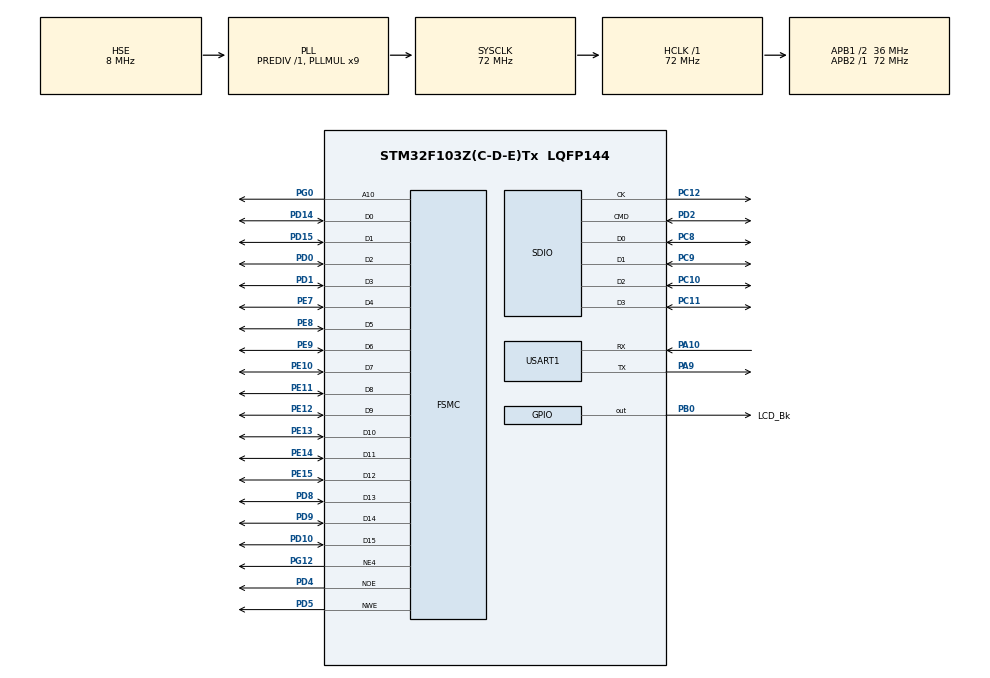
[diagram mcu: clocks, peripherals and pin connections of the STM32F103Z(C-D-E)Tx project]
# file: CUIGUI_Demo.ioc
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FSMC.AddressSetupTime1=1
FSMC.BusTurnAroundDuration1=0
FSMC.DataSetupTime1=15
FSMC.ExtendedAddressSetupTime1=0
FSMC.ExtendedBusTurnAroundDuration1=0
FSMC.ExtendedDataSetupTime1=3
FSMC.ExtendedMode1=FSMC_EXTENDED_MODE_ENABLE
Mcu.Family=STM32F1
Mcu.Name=STM32F103Z(C-D-E)Tx
Mcu.Package=LQFP144
NVIC.PriorityGroup=NVIC_PRIORITYGROUP_4
OSC_IN.Mode=HSE-External-Oscillator
OSC_IN.Signal=RCC_OSC_IN
OSC_OUT.Mode=HSE-External-Oscillator
OSC_OUT.Signal=RCC_OSC_OUT
PA10.Mode=Asynchronous
PA10.Signal=USART1_RX
PA13.Mode=Serial_Wire
PA13.Signal=SYS_JTMS-SWDIO
PA14.Mode=Serial_Wire
PA14.Signal=SYS_JTCK-SWCLK
PA9.Mode=Asynchronous
PA9.Signal=USART1_TX
PB0.GPIO_Label=LCD_Bk
PB0.GPIO_PuPd=GPIO_PULLUP
PB0.GPIO_Speed=GPIO_SPEED_FREQ_LOW
PB0.PinState=GPIO_PIN_RESET
PB0.Signal=GPIO_Output
PC10.Mode=SD_4_bits_Wide_bus
PC10.Signal=SDIO_D2
PC11.Mode=SD_4_bits_Wide_bus
PC11.Signal=SDIO_D3
PC12.Mode=SD_4_bits_Wide_bus
PC12.Signal=SDIO_CK
PC8.Mode=SD_4_bits_Wide_bus
PC8.Signal=SDIO_D0
PC9.Mode=SD_4_bits_Wide_bus
PC9.Signal=SDIO_D1
PD0.Signal=FSMC_D2_DA2
PD1.Signal=FSMC_D3_DA3
PD10.Signal=FSMC_D15_DA15
PD14.Signal=FSMC_D0_DA0
PD15.Signal=FSMC_D1_DA1
PD2.Mode=SD_4_bits_Wide_bus
PD2.Signal=SDIO_CMD
PD4.Signal=FSMC_NOE
PD5.Signal=FSMC_NWE
PD8.Signal=FSMC_D13_DA13
PD9.Signal=FSMC_D14_DA14
PE10.Signal=FSMC_D7_DA7
PE11.Signal=FSMC_D8_DA8
PE12.Signal=FSMC_D9_DA9
PE13.Signal=FSMC_D10_DA10
PE14.Signal=FSMC_D11_DA11
PE15.Signal=FSMC_D12_DA12
PE7.Signal=FSMC_D4_DA4
PE8.Signal=FSMC_D5_DA5
PE9.Signal=FSMC_D6_DA6
PG0.Signal=FSMC_A10
PG12.Mode=NorPsramChipSelect4_1
PG12.Signal=FSMC_NE4
ProjectManager.HeapSize=0x200
ProjectManager.StackSize=0x400
ProjectManager.TargetToolchain=MDK-ARM V5
RCC.AHBFreq_Value=72000000
RCC.APB1CLKDivider=RCC_HCLK_DIV2
RCC.APB1Freq_Value=36000000
RCC.APB1TimFreq_Value=72000000
RCC.APB2Freq_Value=72000000
RCC.APB2TimFreq_Value=72000000
RCC.HCLKFreq_Value=72000000
RCC.PLLMUL=RCC_PLL_MUL9
RCC.PLLSourceVirtual=RCC_PLLSOURCE_HSE
RCC.SYSCLKFreq_VALUE=72000000
RCC.SYSCLKSource=RCC_SYSCLKSOURCE_PLLCLK
RCC.USBFreq_Value=72000000
SDIO.ClockBypass=SDIO_CLOCK_BYPASS_DISABLE
SDIO.ClockDiv=4
SDIO.ClockEdge=SDIO_CLOCK_EDGE_RISING
SDIO.ClockPowerSave=SDIO_CLOCK_POWER_SAVE_DISABLE
SH.FSMC_A10.0=FSMC_A10,A10_1
SH.FSMC_D0_DA0.0=FSMC_D0,16b-d1
SH.FSMC_D10_DA10.0=FSMC_D10,16b-d1
SH.FSMC_D11_DA11.0=FSMC_D11,16b-d1
SH.FSMC_D12_DA12.0=FSMC_D12,16b-d1
SH.FSMC_D13_DA13.0=FSMC_D13,16b-d1
SH.FSMC_D14_DA14.0=FSMC_D14,16b-d1
SH.FSMC_D15_DA15.0=FSMC_D15,16b-d1
SH.FSMC_D1_DA1.0=FSMC_D1,16b-d1
SH.FSMC_D2_DA2.0=FSMC_D2,16b-d1
SH.FSMC_D3_DA3.0=FSMC_D3,16b-d1
SH.FSMC_D4_DA4.0=FSMC_D4,16b-d1
SH.FSMC_D5_DA5.0=FSMC_D5,16b-d1
SH.FSMC_D6_DA6.0=FSMC_D6,16b-d1
SH.FSMC_D7_DA7.0=FSMC_D7,16b-d1
SH.FSMC_D8_DA8.0=FSMC_D8,16b-d1
SH.FSMC_D9_DA9.0=FSMC_D9,16b-d1
SH.FSMC_NOE.0=FSMC_NOE,Lcd1
SH.FSMC_NWE.0=FSMC_NWE,Lcd1
USART1.VirtualMode=VM_ASYNC
board=custom

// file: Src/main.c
/**
  ******************************************************************************
  * @file           : main.c
  * @brief          : Main program body
  ******************************************************************************
  ** This notice applies to any and all portions of this file
  * that are not between comment pairs USER CODE BEGIN and
  * USER CODE END. Other portions of this file, whether
  * inserted by the user or by software development tools
  * are owned by their respective copyright owners.
  *
  * COPYRIGHT(c) 2020 STMicroelectronics
  *
  * Redistribution and use in source and binary forms, with or without modification,
  * are permitted provided that the following conditions are met:
  *   1. Redistributions of source code must retain the above copyright notice,
  *      this list of conditions and the following disclaimer.
  *   2. Redistributions in binary form must reproduce the above copyright notice,
  *      this list of conditions and the following disclaimer in the documentation
  *      and/or other materials provided with the distribution.
  *   3. Neither the name of STMicroelectronics nor the names of its contributors
  *      may be used to endorse or promote products derived from this software
  *      without specific prior written permission.
  *
  * THIS SOFTWARE IS PROVIDED BY THE COPYRIGHT HOLDERS AND CONTRIBUTORS "AS IS"
  * AND ANY EXPRESS OR IMPLIED WARRANTIES, INCLUDING, BUT NOT LIMITED TO, THE
  * IMPLIED WARRANTIES OF MERCHANTABILITY AND FITNESS FOR A PARTICULAR PURPOSE ARE
  * DISCLAIMED. IN NO EVENT SHALL THE COPYRIGHT HOLDER OR CONTRIBUTORS BE LIABLE
  * FOR ANY DIRECT, INDIRECT, INCIDENTAL, SPECIAL, EXEMPLARY, OR CONSEQUENTIAL
  * DAMAGES (INCLUDING, BUT NOT LIMITED TO, PROCUREMENT OF SUBSTITUTE GOODS OR
  * SERVICES; LOSS OF USE, DATA, OR PROFITS; OR BUSINESS INTERRUPTION) HOWEVER
  * CAUSED AND ON ANY THEORY OF LIABILITY, WHETHER IN CONTRACT, STRICT LIABILITY,
  * OR TORT (INCLUDING NEGLIGENCE OR OTHERWISE) ARISING IN ANY WAY OUT OF THE USE
  * OF THIS SOFTWARE, EVEN IF ADVISED OF THE POSSIBILITY OF SUCH DAMAGE.
  *
  ******************************************************************************
  */
#include "main.h"
#include "stm32f1xx_hal.h"
#include "sdio.h"
#include "usart.h"
#include "gpio.h"
#include "fsmc.h"

/* USER CODE BEGIN Includes */
#include "uhead.h"
#include "CUIGUI_UHEAD.H"
#include "CUIGUI_BUTTON.H"
#include "CUIGUI_SLIDER.H"

/* USER CODE END Includes */

/* USER CODE BEGIN PV */
/* Private variables ---------------------------------------------------------*/

/* USER CODE END PV */

void SystemClock_Config(void);

/* USER CODE BEGIN PFP */
/* Private function prototypes -----------------------------------------------*/

/* USER CODE END PFP */

int main(void)
{

  /* MCU Configuration----------------------------------------------------------*/

  /* Reset of all peripherals, Initializes the Flash interface and the Systick. */
  HAL_Init();

  /* Configure the system clock */
  SystemClock_Config();

  /* Initialize all configured peripherals */
  MX_GPIO_Init();
  MX_USART1_UART_Init();
  MX_FSMC_Init();
  MX_SDIO_SD_Init();
  /* USER CODE BEGIN 2 */
  debug("start:\r\n");

	HAL_SD_CardCIDTypeDef pCID = {0};

	if(HAL_SD_GetCardState(&hsd) == HAL_SD_CARD_TRANSFER)
	{
		HAL_SD_GetCardCID(&hsd,&pCID);
		debug("SD 初始化成功：");
		debug("BlockSize = %d\r\n",hsd.SdCard.BlockSize);
	}else debug("SD卡初始化失败\r\n");

	CUIGUI_Init(LGRAYBLUE);
	__List4_Malloc_Init();

	CUIGUI_SetFont(&GUI_Fontsongti24);

	Button* bt = NewButton(100,100,100,50);
	bt->str = "我";
	bt->obj.Draw(bt);

	Slider* slider = NewSlider(10,200,400,40,100,1,Horizontal);
	slider->val = 30;
	slider->obj.Draw(slider);
	debug("----END----\r\n");
  /* USER CODE END 2 */

  /* Infinite loop */
  while (1)
  {

  }

}

void SystemClock_Config(void)
{

  RCC_OscInitTypeDef RCC_OscInitStruct;
  RCC_ClkInitTypeDef RCC_ClkInitStruct;

    /**Initializes the CPU, AHB and APB busses clocks
    */
  RCC_OscInitStruct.OscillatorType = RCC_OSCILLATORTYPE_HSE;
  RCC_OscInitStruct.HSEState = RCC_HSE_ON;
  RCC_OscInitStruct.HSEPredivValue = RCC_HSE_PREDIV_DIV1;
  RCC_OscInitStruct.HSIState = RCC_HSI_ON;
  RCC_OscInitStruct.PLL.PLLState = RCC_PLL_ON;
  RCC_OscInitStruct.PLL.PLLSource = RCC_PLLSOURCE_HSE;
  RCC_OscInitStruct.PLL.PLLMUL = RCC_PLL_MUL9;
  if (HAL_RCC_OscConfig(&RCC_OscInitStruct) != HAL_OK)
  {
    _Error_Handler(__FILE__, __LINE__);
  }

    /**Initializes the CPU, AHB and APB busses clocks
    */
  RCC_ClkInitStruct.ClockType = RCC_CLOCKTYPE_HCLK|RCC_CLOCKTYPE_SYSCLK
                              |RCC_CLOCKTYPE_PCLK1|RCC_CLOCKTYPE_PCLK2;
  RCC_ClkInitStruct.SYSCLKSource = RCC_SYSCLKSOURCE_PLLCLK;
  RCC_ClkInitStruct.AHBCLKDivider = RCC_SYSCLK_DIV1;
  RCC_ClkInitStruct.APB1CLKDivider = RCC_HCLK_DIV2;
  RCC_ClkInitStruct.APB2CLKDivider = RCC_HCLK_DIV1;

  if (HAL_RCC_ClockConfig(&RCC_ClkInitStruct, FLASH_LATENCY_2) != HAL_OK)
  {
    _Error_Handler(__FILE__, __LINE__);
  }

    /**Configure the Systick interrupt time
    */
  HAL_SYSTICK_Config(HAL_RCC_GetHCLKFreq()/1000);

    /**Configure the Systick
    */
  HAL_SYSTICK_CLKSourceConfig(SYSTICK_CLKSOURCE_HCLK);

  /* SysTick_IRQn interrupt configuration */
  HAL_NVIC_SetPriority(SysTick_IRQn, 0, 0);
}

void _Error_Handler(char *file, int line)
{
  /* USER CODE BEGIN Error_Handler_Debug */
  /* User can add his own implementation to report the HAL error return state */
    debug("Error!! line: %d , file:%s",line,file);
  while(1)
  {

  }
  /* USER CODE END Error_Handler_Debug */
}

/************************ (C) COPYRIGHT STMicroelectronics *****END OF FILE****/
